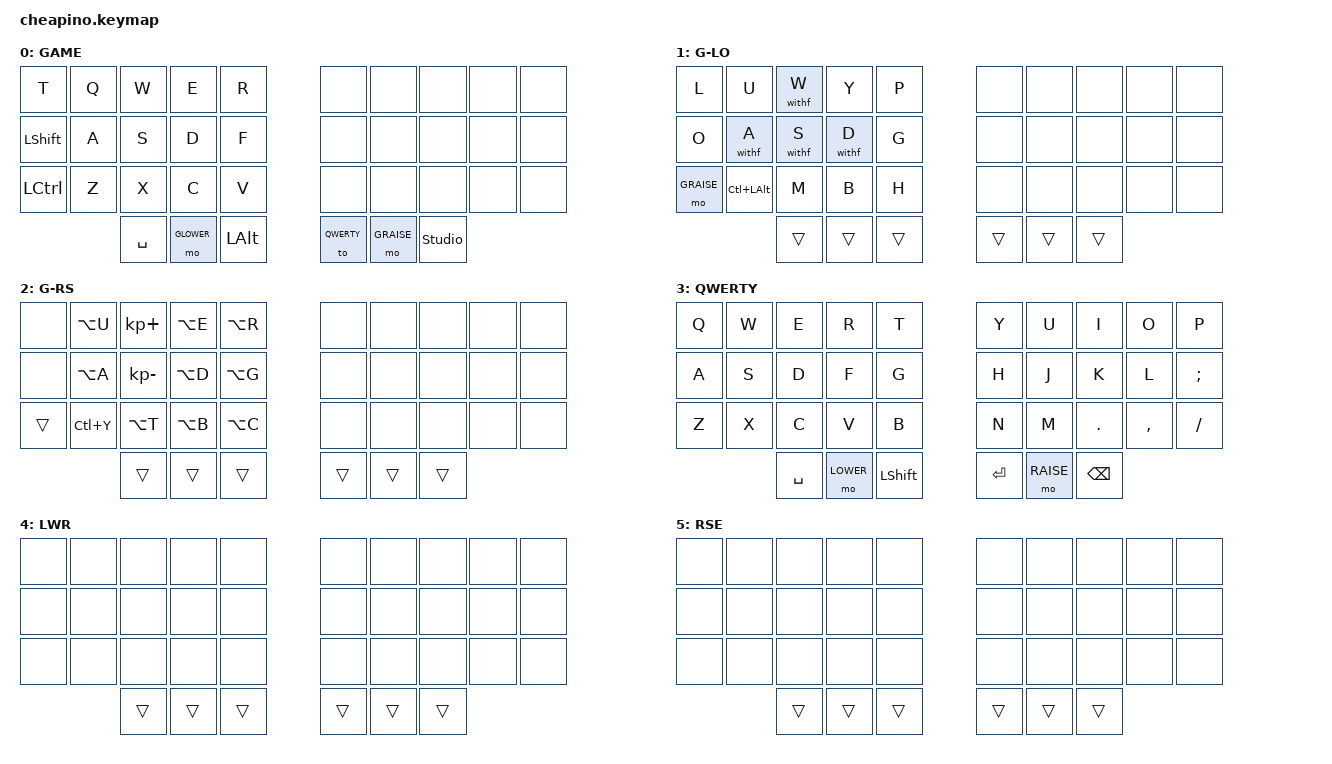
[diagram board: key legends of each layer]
/*
 * Copyright (c) 2025 Allister MacLeod
 *
 * SPDX-License-Identifier: MIT
 */

#include <behaviors.dtsi>
#include <dt-bindings/zmk/keys.h>

#define DEFAULT 0
#define GLOWER  1
#define GRAISE  2
#define QWERTY  3
#define LOWER   4
#define RAISE   5

// TODO:
// - figure out what to put on right hand in game mode. Rarely used keys: right hand on mouse most of the time.

/ {
  keymap {
    compatible = "zmk,keymap";

    default_layer {
// ,-----------------------------.                     ,-----------------------------.
// |  T  |  Q  |  W  |  E  |  R  |                     |     |     |     |     |     |
// |Shift|  A  |  S  |  D  |  F  |                     |     |     |     |     |     |
// | Ctrl|  Z  |  X  |  C  |  V  |---------. ,---------|     |     |     |     |     |
// `---------------------|Space| LWR | Alt | |QWRTY| RSE |     |---------------------'
//                       `-----------------' `-----------------'
      bindings = <
&kp T      &kp Q &kp W &kp E &kp R                &none &none &none &none &none
&kp LSHIFT &kp A &kp S &kp D &kp F                &none &none &none &none &none
&kp LCTRL  &kp Z &kp X &kp C &kp V                &none &none &none &none &none
             &kp SPACE &mo GLOWER &kp LALT   &to QWERTY &mo GRAISE &studio_unlock
      >;
      display-name = "GAME";
    };

    game_lower_layer {
// ,-----------------------------.                     ,-----------------------------.
// |  L  |  U  | f+W |  Y  |  P  |                     |     |     |     |     |     |
// |  O  | f+A | f+S | f+D |  G  |                     |     |     |     |     |     |
// | RSE |Al+Ct|  M  |  B  |  H  |---------. ,---------|     |     |     |     |     |
// `---------------------|     |#####|     | |     |     |     |---------------------'
//                       `-----------------' `-----------------'
      bindings = <
&kp L      &kp U        &withf W &kp Y    &kp P           &none &none &none &none &none
&kp O      &withf A     &withf S &withf D &kp G           &none &none &none &none &none
&mo GRAISE &kp LC(LALT) &kp M    &kp B    &kp H           &none &none &none &none &none
                          &trans &trans &trans     &trans &trans &trans
      >;
      display-name = "G-LO";
    };

    game_raise_layer {
// ,-----------------------------.                     ,-----------------------------.
// |     |Alt-U| KP+ |Alt-E|Alt-R|                     |     |     |     |     |     |
// |     |Alt-A| KP- |Alt-D|Alt-G|                     |     |     |     |     |     |
// |#####|  ^Y |Alt-T|Alt-B|Alt-C|---------. ,---------|     |     |     |     |     |
// `---------------------|     |#####|     | |     |#####|     |---------------------'
//                       `-----------------' `-----------------'
      bindings = <
&none  &kp LA(U) &kp KP_PLUS  &kp LA(E) &kp LA(R)           &none &none &none &none &none
&none  &kp LA(A) &kp KP_MINUS &kp LA(D) &kp LA(G)           &none &none &none &none &none
&trans &kp LC(Y) &kp LA(T)    &kp LA(B) &kp LA(C)           &none &none &none &none &none
                                &trans &trans &trans     &trans &trans &trans
      >;
      display-name = "G-RS";
    };

    qwerty_layer {
// ,-----------------------------.                     ,-----------------------------.
// |  Q  |  W  |  E  |  R  |  T  |                     |  Y  |  U  |  I  |  O  |  P  |
// |  A  |  S  |  D  |  F  |  G  |                     |  H  |  J  |  K  |  L  |  ;  |
// |  Z  |  X  |  C  |  V  |  B  |---------. ,---------|  N  |  M  |  ,  |  .  |  /  |
// `---------------------|Space| LWR |Shift| |Enter| RSE | Bksp|---------------------'
//                       `-----------------' `-----------------'
      bindings = <
&kp Q  &kp W  &kp E  &kp R  &kp T            &kp Y  &kp U  &kp I   &kp O     &kp P
&kp A  &kp S  &kp D  &kp F  &kp G            &kp H  &kp J  &kp K   &kp L     &kp SEMI
&kp Z  &kp X  &kp C  &kp V  &kp B            &kp N  &kp M  &kp DOT &kp COMMA &kp SLASH
        &kp SPACE &mo LOWER &kp LSHIFT   &kp ENTER &mo RAISE &kp BACKSPACE
      >;
      display-name = "QWERTY";
    };

    lower_layer {
// ,-----------------------------.                     ,-----------------------------.
// |     |     |     |     |     |                     |     |     |     |     |     |
// |     |     |     |     |     |                     |     |     |     |     |     |
// |     |     |     |     |     |---------. ,---------|     |     |     |     |     |
// `---------------------|     |     |     | |     |     |     |---------------------'
//                       `-----------------' `-----------------'
      bindings = <
&none &none &none &none &none           &none &none &none &none &none
&none &none &none &none &none           &none &none &none &none &none
&none &none &none &none &none           &none &none &none &none &none
            &trans &trans &trans     &trans &trans &trans
      >;
      display-name = "LWR";
    };

    raise_layer {
// ,-----------------------------.                     ,-----------------------------.
// |     |     |     |     |     |                     |     |     |     |     |     |
// |     |     |     |     |     |                     |     |     |     |     |     |
// |     |     |     |     |     |---------. ,---------|     |     |     |     |     |
// `---------------------|     |     |     | |     |     |     |---------------------'
//                       `-----------------' `-----------------'
      bindings = <
&none &none &none &none &none           &none &none &none &none &none
&none &none &none &none &none           &none &none &none &none &none
&none &none &none &none &none           &none &none &none &none &none
            &trans &trans &trans     &trans &trans &trans
      >;
      display-name = "RSE";
    };
  };

  behaviors {
  };

  macros {
    // Hold the F key while the current key is held. This is for
    // Factorio and V Rising, where holding F picks up items from the
    // ground.
    withf: with_f_held {
      compatible = "zmk,behavior-macro-one-param";
      #binding-cells = <1>;
      bindings
        = <&macro_press>
        , <&kp F>
        , <&macro_param_1to1>
        , <&kp MACRO_PLACEHOLDER>
        , <&macro_pause_for_release>
        , <&macro_param_1to1>
        , <&macro_release>
        , <&kp MACRO_PLACEHOLDER>
        , <&kp F>
        ;     
    };
  };
};

// ,-----------------------------.                     ,-----------------------------.
// |     |     |     |     |     |                     |     |     |     |     |     |
// |     |     |     |     |     |                     |     |     |     |     |     |
// |     |     |     |     |     |---------. ,---------|     |     |     |     |     |
// `---------------------|     |     |     | |     |     |     |---------------------'
//                       `-----------------' `-----------------'
